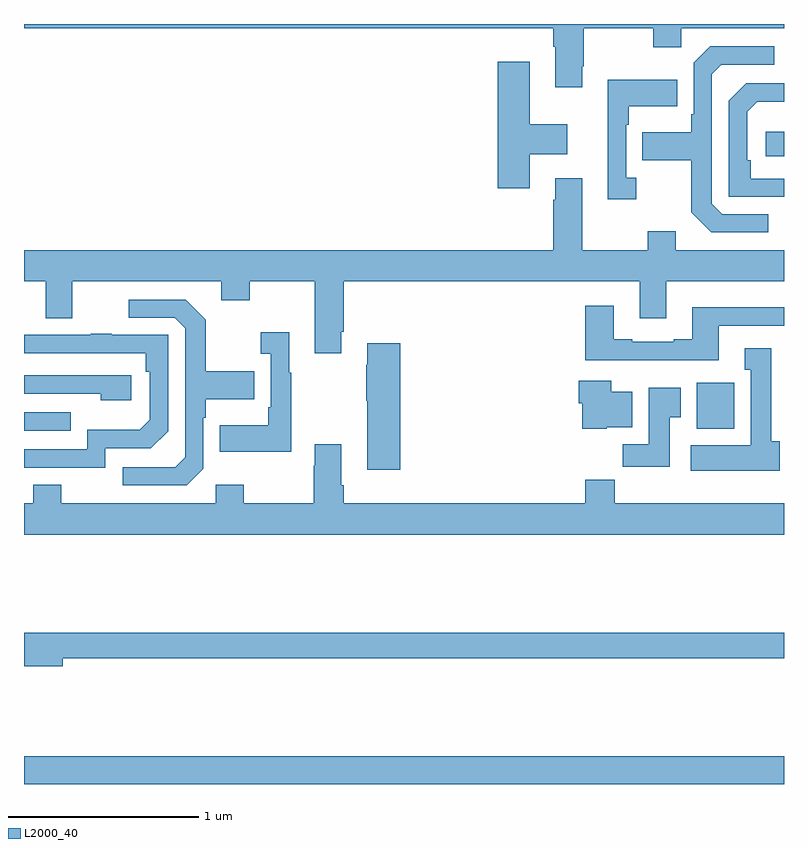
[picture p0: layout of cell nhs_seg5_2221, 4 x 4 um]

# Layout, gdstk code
import gdstk
lib = gdstk.Library(unit=1e-6, precision=1e-09)
def R(c, l, rs):  # rectangles x0, y0, x1, y1
    for r in rs: c.add(gdstk.rectangle(r[:2], r[2:], *l))
def P(c, l, *ps):  # polygons
    for p in ps: c.add(gdstk.Polygon(p, *l))
L2000_40 = (2000, 40)

nhs_seg5_2221 = lib.new_cell('nhs_seg5_2221')
R(nhs_seg5_2221, L2000_40, [(241,836.799,245,836.944), (241,838.659,241.247,838.755), (244.541,838.67,244.738,838.912), (244.905,840.102,245,840.232)])
P(nhs_seg5_2221, L2000_40, [(243.937,840.577),(243.945,840.577),(243.945,840.776),(244.312,840.776),(244.312,840.677),(244.458,840.677),(244.458,840.776),(245,840.776),(245,840.799),(241,840.799),(241,840.776),(243.785,840.776),(243.785,840.68),(243.797,840.68),(243.797,840.465),(243.937,840.465)],
  [(244.918,839.799),(244.674,839.799),(244.62,839.853),(244.62,840.534),(244.671,840.585),(244.948,840.585),(244.948,840.681),(244.611,840.681),(244.524,840.594),(244.524,840.325),(244.512,840.325),(244.512,840.229),(244.255,840.229),(244.255,840.082),(244.512,840.082),(244.512,839.809),(244.617,839.703),(244.918,839.703)],
  [(243.661,840.113),(243.859,840.113),(243.859,840.271),(243.661,840.271),(243.661,840.601),(243.494,840.601),(243.494,839.934),(243.661,839.934)],
  [(244.222,839.99),(244.17,839.99),(244.17,840.269),(244.183,840.269),(244.183,840.365),(244.439,840.365),(244.439,840.505),(244.073,840.505),(244.073,839.877),(244.222,839.877)],
  [(245,839.985),(244.826,839.985),(244.826,840.082),(244.806,840.082),(244.806,840.336),(244.859,840.389),(245,840.389),(245,840.486),(244.8,840.486),(244.71,840.396),(244.71,839.889),(245,839.889)],
  [(242.671,839.179),(242.684,839.179),(242.684,839.444),(244.241,839.444),(244.241,839.25),(244.381,839.25),(244.381,839.444),(245,839.444),(245,839.608),(244.429,839.608),(244.429,839.707),(244.282,839.707),(244.282,839.608),(243.937,839.608),(243.937,839.986),(243.797,839.986),(243.797,839.873),(243.785,839.873),(243.785,839.608),(241,839.608),(241,839.444),(241.115,839.444),(241.115,839.25),(241.255,839.25),(241.255,839.444),(242.039,839.444),(242.039,839.345),(242.187,839.345),(242.187,839.444),(242.531,839.444),(242.531,839.067),(242.671,839.067)],
  [(241.944,838.458),(241.944,838.727),(241.957,838.727),(241.957,838.823),(242.213,838.823),(242.213,838.971),(241.957,838.971),(241.957,839.243),(241.851,839.349),(241.551,839.349),(241.551,839.253),(241.794,839.253),(241.848,839.199),(241.848,838.518),(241.797,838.467),(241.521,838.467),(241.521,838.371),(241.857,838.371)],
  [(244.657,839.211),(245,839.211),(245,839.308),(244.517,839.308),(244.517,839.14),(244.421,839.14),(244.421,839.127),(244.201,839.127),(244.201,839.14),(244.105,839.14),(244.105,839.317),(243.953,839.317),(243.953,839.03),(244.657,839.03)],
  [(242.407,838.963),(242.395,838.963),(242.395,839.176),(242.247,839.176),(242.247,839.063),(242.298,839.063),(242.298,838.783),(242.286,838.783),(242.286,838.687),(242.029,838.687),(242.029,838.547),(242.407,838.547)],
  [(241.428,838.566),(241.668,838.566),(241.758,838.656),(241.758,839.163),(241.463,839.163),(241.463,839.168),(241.351,839.168),(241.351,839.163),(241,839.163),(241,839.067),(241.642,839.067),(241.642,838.97),(241.662,838.97),(241.662,838.716),(241.609,838.663),(241.332,838.663),(241.332,838.56),(241,838.56),(241,838.464),(241.428,838.464)],
  [(242.98,839.119),(242.807,839.119),(242.807,839.006),(242.8,839.006),(242.8,838.817),(242.807,838.817),(242.807,838.452),(242.98,838.452)],
  [(244.978,838.602),(244.933,838.602),(244.933,839.092),(244.793,839.092),(244.793,838.979),(244.826,838.979),(244.826,838.582),(244.509,838.582),(244.509,838.448),(244.978,838.448)],
  [(241.564,838.95),(241,838.95),(241,838.854),(241.403,838.854),(241.403,838.82),(241.564,838.82)],
  [(244.068,838.676),(244.201,838.676),(244.201,838.864),(244.09,838.864),(244.09,838.921),(243.92,838.921),(243.92,838.803),(243.938,838.803),(243.938,838.67),(244.068,838.67)],
  [(244.399,838.729),(244.456,838.729),(244.456,838.885),(244.289,838.885),(244.289,838.588),(244.15,838.588),(244.15,838.47),(244.399,838.47)],
  [(245,838.276),(244.109,838.276),(244.109,838.4),(243.953,838.4),(243.953,838.276),(242.684,838.276),(242.684,838.372),(242.671,838.372),(242.671,838.588),(242.531,838.588),(242.531,838.475),(242.524,838.475),(242.524,838.276),(242.157,838.276),(242.157,838.375),(242.01,838.375),(242.01,838.276),(241.197,838.276),(241.197,838.375),(241.049,838.375),(241.049,838.276),(241,838.276),(241,838.112),(245,838.112)],
  [(241.204,837.46),(245,837.46),(245,837.596),(241,837.596),(241,837.418),(241.204,837.418)])

lib.write_gds('nhs_seg5_2221.gds')
